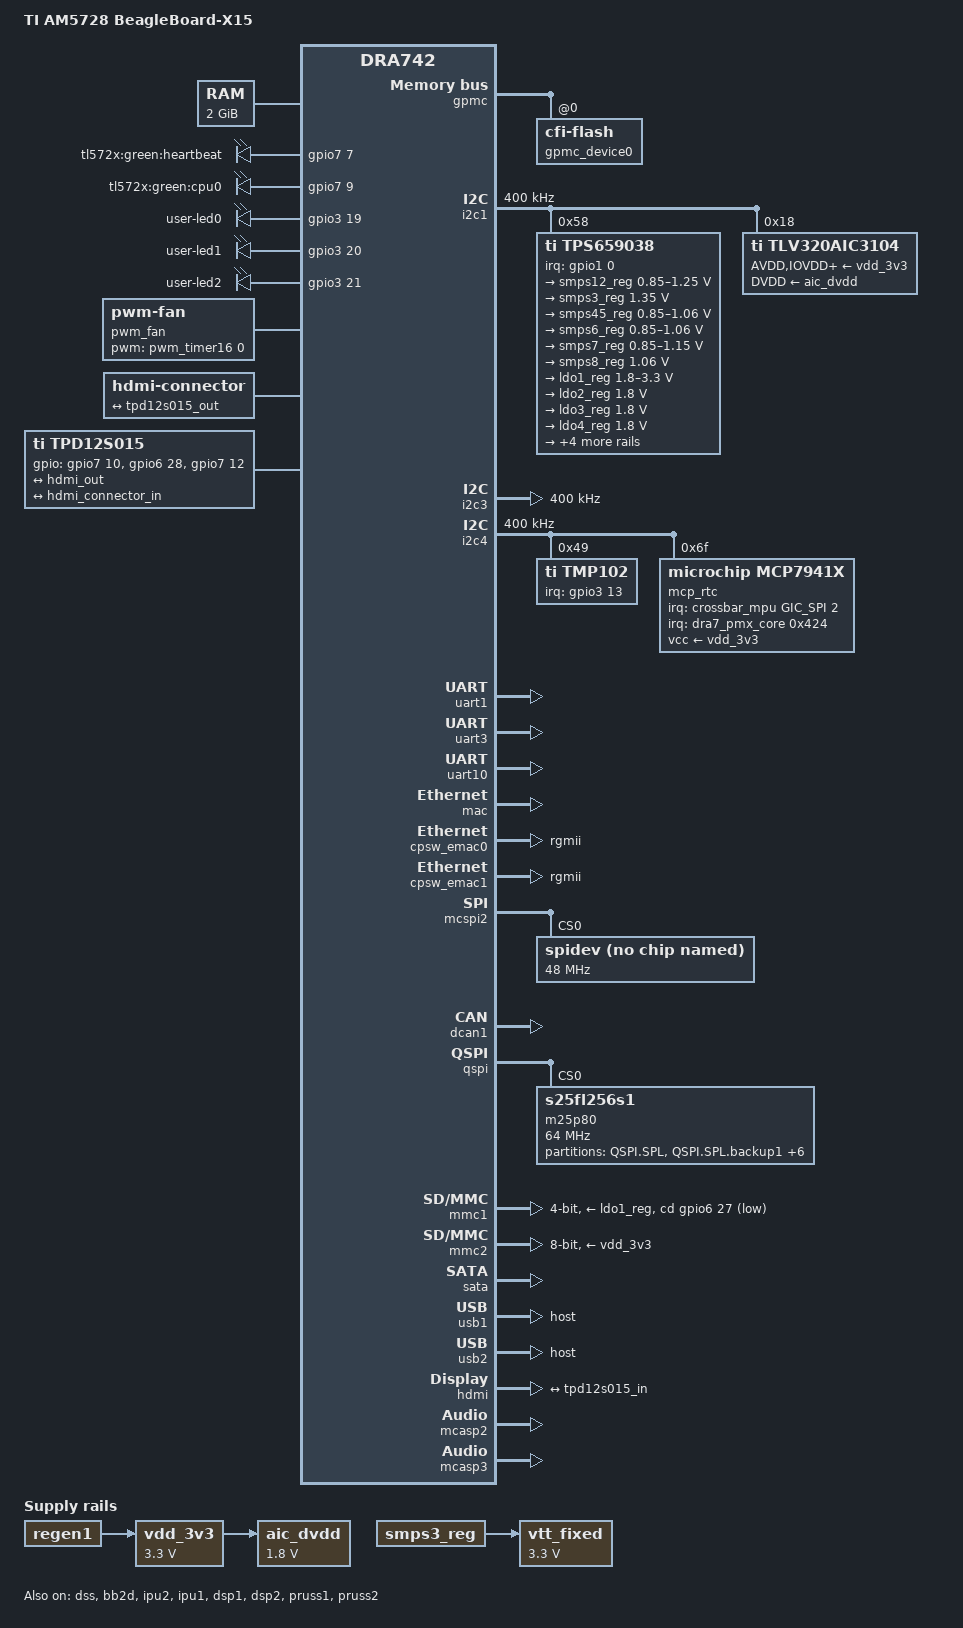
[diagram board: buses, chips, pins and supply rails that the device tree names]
/*
 * Copyright (C) 2014 Texas Instruments Incorporated - http://www.ti.com/
 *
 * This program is free software; you can redistribute it and/or modify
 * it under the terms of the GNU General Public License version 2 as
 * published by the Free Software Foundation.
 */
/dts-v1/;

#include "dra74x.dtsi"
#include <dt-bindings/gpio/gpio.h>
#include <dt-bindings/interrupt-controller/irq.h>

/ {
	model = "TI AM5728 BeagleBoard-X15";
	compatible = "ti,am572x-beagle-x15", "ti,am5728", "ti,dra742", "ti,dra74", "ti,dra7";

	aliases {
		rtc0 = &mcp_rtc;
		rtc1 = &tps659038_rtc;
		rtc2 = &rtc;
		display0 = &hdmi0;

		sound0 = &hdmi;
		sound1 = &sound0;
	};

	memory {
		device_type = "memory";
		reg = <0x0 0x80000000 0x0 0x80000000>;
	};

	reserved-memory {
		#address-cells = <2>;
		#size-cells = <2>;
		ranges;

		ipu2_cma_pool: ipu2_cma@95800000 {
			compatible = "shared-dma-pool";
			reg = <0x0 0x95800000 0x0 0x3800000>;
			reusable;
			status = "okay";
		};

		dsp1_cma_pool: dsp1_cma@99000000 {
			compatible = "shared-dma-pool";
			reg = <0x0 0x99000000 0x0 0x4000000>;
			reusable;
			status = "okay";
		};

		ipu1_cma_pool: ipu1_cma@9d000000 {
			compatible = "shared-dma-pool";
			reg = <0x0 0x9d000000 0x0 0x2000000>;
			reusable;
			status = "okay";
		};

		dsp2_cma_pool: dsp2_cma@9f000000 {
			compatible = "shared-dma-pool";
			reg = <0x0 0x9f000000 0x0 0x800000>;
			reusable;
			status = "okay";
		};

		cmem_block_mem_0: cmem_block_mem@a0000000 {
                        reg = <0x0 0xa0000000 0x0 0x0c000000>;
                        no-map;
                        status = "okay";
                };

		cmem_block_mem_1_ocmc3: cmem_block_mem@40500000 {
			reg = <0x0 0x40500000 0x0 0x100000>;
			no-map;
			status = "okay";
		};
	};

	vdd_3v3: fixedregulator-vdd_3v3 {
		compatible = "regulator-fixed";
		regulator-name = "vdd_3v3";
		vin-supply = <&regen1>;
		regulator-min-microvolt = <3300000>;
		regulator-max-microvolt = <3300000>;
	};

	aic_dvdd: fixedregulator-aic_dvdd {
		compatible = "regulator-fixed";
		regulator-name = "aic_dvdd_fixed";
		vin-supply = <&vdd_3v3>;
		regulator-min-microvolt = <1800000>;
		regulator-max-microvolt = <1800000>;
	};

	vtt_fixed: fixedregulator-vtt {
		/* TPS51200 */
		compatible = "regulator-fixed";
		regulator-name = "vtt_fixed";
		vin-supply = <&smps3_reg>;
		regulator-min-microvolt = <3300000>;
		regulator-max-microvolt = <3300000>;
		regulator-always-on;
		regulator-boot-on;
		enable-active-high;
		//gpio = <&gpio7 11 GPIO_ACTIVE_HIGH>;
	};

	cmem {
                compatible = "ti,cmem";
                #address-cells = <1>;
                #size-cells = <0>;

                #pool-size-cells = <2>;

                status = "okay";

                cmem_block_0: cmem_block@0 {
                        reg = <0>;
                        memory-region = <&cmem_block_mem_0>;
                        cmem-buf-pools = <1 0x0 0x0c000000>;
                };

		cmem_block_1: cmem_block@1 {
			reg = <1>;
			memory-region = <&cmem_block_mem_1_ocmc3>;
		};
        };

	leds {
		pinctrl-names = "default";
		pinctrl-0 = <&leds_pins_default>;
		compatible = "gpio-leds";
		led@0 {
			label = "tl572x:green:heartbeat";
			gpios = <&gpio7 7 GPIO_ACTIVE_HIGH>;
			linux,default-trigger = "heartbeat";
			default-state = "off";
		};

		led@1 {
			label = "tl572x:green:cpu0";
			gpios = <&gpio7 9 GPIO_ACTIVE_HIGH>;
			linux,default-trigger = "cpu0";
			default-state = "off";
		};

		led@2 {
			label = "user-led0";
			gpios = <&gpio3 19 GPIO_ACTIVE_HIGH>;
			default-state = "on";
		};

		led@3 {
			label = "user-led1";
			gpios = <&gpio3 20 GPIO_ACTIVE_HIGH>;
			default-state = "on";
		};

		led@4 {
			label = "user-led2";
			gpios = <&gpio3 21 GPIO_ACTIVE_HIGH>;
			default-state = "on";
		};
	};

	pwm_timer16: dmtimer-pwm@16 {
		pinctrl-names = "default";
		pinctrl-0 = <&fan_pins_default>;
		compatible = "ti,omap-dmtimer-pwm";
		ti,timers = <&timer16>;
		#pwm-cells = <3>;
		ti,prescaler = <7>;
		ti,clock-source = <0x00>;
	};

	pwm_fan: pwm_fan {
		compatible = "pwm-fan";
		cooling-min-state = <0>;
		cooling-max-state = <3>;
		#cooling-cells = <2>;
		pwms = <&pwm_timer16 0 10000 0>;
		cooling-levels = <102 153 204 250>;
	};

	hdmi0: connector {
		compatible = "hdmi-connector";
		label = "hdmi";

		type = "a";

		port {
			hdmi_connector_in: endpoint {
				remote-endpoint = <&tpd12s015_out>;
			};
		};
	};

	tpd12s015: encoder {
		compatible = "ti,tpd12s015";

		gpios = <&gpio7 10 GPIO_ACTIVE_HIGH>,	/* gpio7_10, CT CP HPD */
			<&gpio6 28 GPIO_ACTIVE_HIGH>,	/* gpio6_28, LS OE */
			<&gpio7 12 GPIO_ACTIVE_HIGH>;	/* gpio7_12/sp1_cs2, HPD */

		ports {
			#address-cells = <1>;
			#size-cells = <0>;

			port@0 {
				reg = <0>;

				tpd12s015_in: endpoint {
					remote-endpoint = <&hdmi_out>;
				};
			};

			port@1 {
				reg = <1>;

				tpd12s015_out: endpoint {
					remote-endpoint = <&hdmi_connector_in>;
				};
			};
		};
	};

	tvp5158_audio: tvp5158_audio {
		#sound-dai-cells = <0>;
		compatible = "ti,tvp5158-audio";

		assigned-clocks = <&clkoutmux2_clk_mux>;
		assigned-clock-parents = <&sys_clk2_dclk_div>;

		status = "okay";
	};

	sound0: sound@0 {
		compatible = "simple-audio-card";
		simple-audio-card,name = "BeagleBoard-X15";
		simple-audio-card,widgets =
			"Line", "Line In";
		simple-audio-card,routing =
			"Line In", "Line In";
		simple-audio-card,format = "i2s";
		simple-audio-card,bitclock-master = <&sound0_master>;
		simple-audio-card,frame-master = <&sound0_master>;
		simple-audio-card,bitclock-inversion;

		simple-audio-card,cpu {
			sound-dai = <&mcasp2>;
		};

		sound0_master: simple-audio-card,codec {
			sound-dai = <&tvp5158_audio>;
			clocks = <&clkout2_clk>;
		};
	};
};

&dra7_pmx_core {
	pinctrl-names = "default";
	pinctrl-0 = <&gpio1_pins_default &gpio4_pins_default &i2c1_pins_default &i2c4_pins_default &gpmc_pins_default>;

	leds_pins_default: leds_pins_default {
		pinctrl-single,pins = <
			DRA7XX_CORE_IOPAD(0x37a4, (PIN_OUTPUT | MUX_MODE14)) /* spi1_sclk.gpio7_7 (som led1) A25 */
			DRA7XX_CORE_IOPAD(0x37ac, (PIN_OUTPUT | MUX_MODE14)) /* spi1_d0.gpio7_9 (som led2) B25 */
			DRA7XX_CORE_IOPAD(0x3530, (PIN_OUTPUT | MUX_MODE14)) /* vin1a_d15.gpio3_19 */
			DRA7XX_CORE_IOPAD(0x3534, (PIN_OUTPUT | MUX_MODE14)) /* vin1a_d16.gpio3_20 */
			DRA7XX_CORE_IOPAD(0x3538, (PIN_OUTPUT | MUX_MODE14)) /* vin1a_d17.gpio3_21 */
		>;
	};

	i2c1_pins_default: i2c1_pins_default {
		pinctrl-single,pins = <
			DRA7XX_CORE_IOPAD(0x3800, (PIN_INPUT_PULLUP | MUX_MODE0)) /* i2c1_sda.sda */
			DRA7XX_CORE_IOPAD(0x3804, (PIN_INPUT_PULLUP | MUX_MODE0)) /* i2c1_scl.scl */
		>;
	};

	i2c4_pins_default: i2c4_pins_default {
		pinctrl-single,pins = <
			DRA7XX_CORE_IOPAD(0x3440, (PIN_INPUT_PULLUP | MUX_MODE7)) /* gpmc_a0.i2c4_scl */
			DRA7XX_CORE_IOPAD(0x3444, (PIN_INPUT_PULLUP | MUX_MODE7)) /* gpmc_a1.i2c4_sda */
		>;
	};

	uart1_pins_default: uart1_pins_default {
		pinctrl-single,pins = <
			DRA7XX_CORE_IOPAD(0x37e0, (PIN_INPUT_PULLUP | MUX_MODE0)) /* uart1_rxd.uart1_rxd */
			DRA7XX_CORE_IOPAD(0x37e4, (PIN_INPUT_PULLUP | MUX_MODE0)) /* uart1_txd.uart1_txd */
		>;
	};

	uart10_pins_default: uart10_pins_default {
		pinctrl-single,pins = <
			DRA7XX_CORE_IOPAD(0x3570, (PIN_INPUT_PULLUP | MUX_MODE8)) /* vin2a_d2.uart10_rxd */
			DRA7XX_CORE_IOPAD(0x3574, (PIN_INPUT_PULLUP | MUX_MODE8)) /* vin2a_d3.uart10_txd */
		>;
	};

	fan_pins_default: fan_pins_default {
		pinctrl-single,pins = <
			DRA7XX_CORE_IOPAD(0x34e4, (PIN_OUTPUT_PULLUP | MUX_MODE7)) /* vin1a_de0.timer16 (AD9) */
		>;
	};

	ads7846_pins: ads7846_pins {
		pinctrl-single,pins = <
			DRA7XX_CORE_IOPAD(0x3548, (PIN_INPUT_PULLUP | MUX_MODE14)) /* vin1a_d21.gpio3_25 */
		>;
	};

	qspi1_pins_default: qspi1_pins_default {
		pinctrl-single,pins = <
			DRA7XX_CORE_IOPAD(0x3488, (PIN_INPUT_PULLUP | MUX_MODE1)) /* gpmc_a18.qspi1_sclk */
			DRA7XX_CORE_IOPAD(0x3474, (PIN_INPUT_PULLUP | MUX_MODE1)) /* gpmc_a13.qspi1_rtclk */
			DRA7XX_CORE_IOPAD(0x3480, (PIN_INPUT_PULLUP | MUX_MODE1)) /* gpmc_a16.qspi1_d0 */
			DRA7XX_CORE_IOPAD(0x3484, (PIN_INPUT_PULLUP | MUX_MODE1)) /* gpmc_a17.qspi1_d1 */
			DRA7XX_CORE_IOPAD(0x347c, (PIN_INPUT_PULLUP | MUX_MODE1)) /* gpmc_a15.qspi1_d2 */
			DRA7XX_CORE_IOPAD(0x3478, (PIN_INPUT_PULLUP | MUX_MODE1)) /* gpmc_a14.qspi1_d3 */
			DRA7XX_CORE_IOPAD(0x34b8, (PIN_INPUT_PULLUP | MUX_MODE1)) /* gpmc_cs2.qspi1_cs0 */
		>;
	};

	spi3_pins: spi3_pins {
		pinctrl-single,pins = <
			DRA7XX_CORE_IOPAD(0x3780, (INPUT_EN | MUX_MODE1))          /* mcasp1_axr8.spi3_sclk (B12) */
			DRA7XX_CORE_IOPAD(0x3784, (INPUT_EN | MUX_MODE1))          /* mcasp1_axr9.spi3_d1 (A11) */
			DRA7XX_CORE_IOPAD(0x3788, (INPUT_EN | MUX_MODE1))          /* mcasp1_axr10.spi3_d0 (B13) */
			DRA7XX_CORE_IOPAD(0x378C, (PIN_OUTPUT_PULLUP | MUX_MODE1)) /* mcasp1_axr11.spi3_cs0 (A12) */
		>;
	};

	spi2_pins: spi2_pins {
		pinctrl-single,pins = <
			DRA7XX_CORE_IOPAD(0x37C0, (INPUT_EN | MUX_MODE0))          /* SPI2_SCLK.spi2_sclk (A26) */
			DRA7XX_CORE_IOPAD(0x37C4, (INPUT_EN | MUX_MODE0))          /* SPI2_D1.spi2_d1 (B11) */
			DRA7XX_CORE_IOPAD(0x37C8, (INPUT_EN | MUX_MODE0))          /* SPI2_D0.spi2_d0 (B13) */
			DRA7XX_CORE_IOPAD(0x37CC, (PIN_OUTPUT_PULLUP | MUX_MODE0)) /* SPI2_CS0.spi2_cs0 (A12) */
		>;
	};

	dcan1__pins_default: dcan1_pins_default {
		pinctrl-single,pins = <
			DRA7XX_CORE_IOPAD(0x37d0, (PIN_INPUT_PULLUP | MUX_MODE0))   /* dcan1_tx.tx */
			DRA7XX_CORE_IOPAD(0x37d4, (PIN_INPUT_PULLUP | MUX_MODE0))   /* dcan1_rx.rx */
		>;
	};

	mcasp2_pins_default: mcasp2_pins_default {
		pinctrl-single,pins = <
			DRA7XX_CORE_IOPAD(0x3698, (PIN_INPUT_PULLDOWN | MUX_MODE3))   /* xref_clk1.mcasp2_ahclkx */
			DRA7XX_CORE_IOPAD(0x36F4, (PIN_INPUT_PULLDOWN | MUX_MODE0))   /* mcasp2_aclkx.mcasp2_aclkx */
			DRA7XX_CORE_IOPAD(0x36F8, (PIN_INPUT_PULLUP | MUX_MODE0))   /* mcasp2_fsx.mcasp2_fsx */
			DRA7XX_CORE_IOPAD(0x370C, (PIN_INPUT_PULLUP | MUX_MODE0))   /* mcasp2_axr2.mcasp2_axr2 */
			DRA7XX_CORE_IOPAD(0x3710, (PIN_INPUT_PULLUP | MUX_MODE0))   /* mcasp2_axr3.mcasp2_axr3 */
		>;
	};

	gpio1_pins_default: gpio1_pins_default {
		pinctrl-single,pins = <
			DRA7XX_CORE_IOPAD(0x381c, (PIN_INPUT_PULLUP | MUX_MODE14)) /* Wakeup1.gpio1_1 */
			DRA7XX_CORE_IOPAD(0x3820, (PIN_INPUT_PULLUP | MUX_MODE14)) /* Wakeup2.gpio1_2 */
		>;
	};

	gpio4_pins_default: gpio4_pins_default {
		pinctrl-single,pins = <
			DRA7XX_CORE_IOPAD(0x3568, (PIN_INPUT_PULLUP | MUX_MODE14)) /* vin2a_d0.gpio4_1 */
		>;
	};

	gpmc_pins_default: gpmc_pins_default {
		pinctrl-single,pins = <
			DRA7XX_CORE_IOPAD(0x3400, (PIN_INPUT_PULLUP | MUX_MODE0))  /* gpmc_ad0.gpmc_d0 */
			DRA7XX_CORE_IOPAD(0x3404, (PIN_INPUT_PULLUP | MUX_MODE0))  /* gpmc_ad1.gpmc_d1 */
			DRA7XX_CORE_IOPAD(0x3408, (PIN_INPUT_PULLUP | MUX_MODE0))  /* gpmc_ad2.gpmc_d2 */
			DRA7XX_CORE_IOPAD(0x340C, (PIN_INPUT_PULLUP | MUX_MODE0))  /* gpmc_ad3.gpmc_d3 */
			DRA7XX_CORE_IOPAD(0x3410, (PIN_INPUT_PULLUP | MUX_MODE0))  /* gpmc_ad4.gpmc_d4 */
			DRA7XX_CORE_IOPAD(0x3414, (PIN_INPUT_PULLUP | MUX_MODE0))  /* gpmc_ad5.gpmc_d5 */
			DRA7XX_CORE_IOPAD(0x3418, (PIN_INPUT_PULLUP | MUX_MODE0))  /* gpmc_ad6.gpmc_d6 */
			DRA7XX_CORE_IOPAD(0x341C, (PIN_INPUT_PULLUP | MUX_MODE0))  /* gpmc_ad7.gpmc_d7 */
			DRA7XX_CORE_IOPAD(0x3420, (PIN_INPUT_PULLUP | MUX_MODE0))  /* gpmc_ad8.gpmc_d8 */
			DRA7XX_CORE_IOPAD(0x3424, (PIN_INPUT_PULLUP | MUX_MODE0))  /* gpmc_ad9.gpmc_d9 */
			DRA7XX_CORE_IOPAD(0x3428, (PIN_INPUT_PULLUP | MUX_MODE0))  /* gpmc_ad10.gpmc_d10 */
			DRA7XX_CORE_IOPAD(0x342C, (PIN_INPUT_PULLUP | MUX_MODE0))  /* gpmc_ad11.gpmc_d11 */
			DRA7XX_CORE_IOPAD(0x3430, (PIN_INPUT_PULLUP | MUX_MODE0))  /* gpmc_ad12.gpmc_d12 */
			DRA7XX_CORE_IOPAD(0x3434, (PIN_INPUT_PULLUP | MUX_MODE0))  /* gpmc_ad13.gpmc_d13 */
			DRA7XX_CORE_IOPAD(0x3438, (PIN_INPUT_PULLUP | MUX_MODE0))  /* gpmc_ad14.gpmc_d14 */
			DRA7XX_CORE_IOPAD(0x343C, (PIN_INPUT_PULLUP | MUX_MODE0))  /* gpmc_ad15.gpmc_d15 */
			DRA7XX_CORE_IOPAD(0x34C0, (PIN_INPUT | MUX_MODE0))         /* gpmc_clk.gpmc_clk */
			DRA7XX_CORE_IOPAD(0x34C4, (PIN_OUTPUT_PULLUP | MUX_MODE0)) /* gpmc_advn_ale.gpmc_advn_ale */
			DRA7XX_CORE_IOPAD(0x34C8, (PIN_OUTPUT_PULLUP | MUX_MODE0)) /* gpmc_oen_ren.gpmc_oen_ren */
			DRA7XX_CORE_IOPAD(0x34CC, (PIN_OUTPUT_PULLUP | MUX_MODE0)) /* gpmc_wen.gpmc_wen */
			DRA7XX_CORE_IOPAD(0x34B4, (PIN_OUTPUT_PULLUP | MUX_MODE0)) /* gpmc_cs0.gpmc_cs0 */
		>;
	};
};

&gpmc {
	depth = <1>;    /* only create devices on depth 1 */
	status = "okay";

	#address-cells = <2>;
	#size-cells = <1>;


	ranges = <0 0 0x01000000 0x01000000>;  /* CSn0 0, addr 0x01000000, size 0x1000000 */

	gpmc_device0@0,0 {
		compatible = "cfi-flash";
		linux,mtd-name= "intel,pf48f6000m0y1be";

		#address-cells = <1>;
		#size-cells = <1>;

		status = "okay";

		reg = <0 0 0x01000000>;

		/* CONFIG 1 */
		bank-width = <2>;               /* GPMC_CONFIG1_DEVICESIZE(1) 2: 16bits */
		gpmc,mux-add-data = <2>;        /* GPMC_CONFIG1_MUXTYPE(0) 2: address-data multiplexing mode */

		/* CONFIG 2 */
		gpmc,cs-on-ns = <0>;
		gpmc,cs-rd-off-ns = <93>;
		gpmc,cs-wr-off-ns = <93>;

		/* CONFIG 3 */
		gpmc,adv-on-ns = <6>;
		gpmc,adv-rd-off-ns = <24>;
		gpmc,adv-wr-off-ns = <24>;

		/* CONFIG 4 */
		gpmc,oe-on-ns = <27>;
		gpmc,oe-off-ns = <84>;
		gpmc,we-on-ns = <27>;
		gpmc,we-off-ns = <84>;

		/* CONFIG 5 */
		gpmc,rd-cycle-ns = <93>;
		gpmc,wr-cycle-ns = <93>;
		gpmc,access-ns = <57>;
		gpmc,page-burst-access-ns = <3>;
		gpmc,bus-turnaround-ns = <6>;
		gpmc,cycle2cycle-delay-ns = <9>;

		/* CONFIG 6 */
		gpmc,wr-data-mux-bus-ns = <45>;
		gpmc,wr-access-ns = <93>;
		gpmc,cycle2cycle-samecsen;
		gpmc,cycle2cycle-diffcsen;
	};
};

&i2c1 {
	status = "okay";
	clock-frequency = <400000>;


	tps659038: tps659038@58 {
		compatible = "ti,tps659038";
		reg = <0x58>;
		interrupt-parent = <&gpio1>;
		interrupts = <0 IRQ_TYPE_LEVEL_LOW>;

		#interrupt-cells = <2>;
		interrupt-controller;

		ti,system-power-controller;
		ti,palmas-override-powerhold;

		tps659038_pmic {
			compatible = "ti,tps659038-pmic";

			regulators {
				smps12_reg: smps12 {
					/* VDD_MPU */
					regulator-name = "smps12";
					regulator-min-microvolt = < 850000>;
					regulator-max-microvolt = <1250000>;
					regulator-always-on;
					regulator-boot-on;
				};

				smps3_reg: smps3 {
					/* VDD_DDR */
					regulator-name = "smps3";
					regulator-min-microvolt = <1350000>;
					regulator-max-microvolt = <1350000>;
					regulator-always-on;
					regulator-boot-on;
				};

				smps45_reg: smps45 {
					/* VDD_DSPEVE */
					regulator-name = "smps45";
					regulator-min-microvolt = < 850000>;
					regulator-max-microvolt = <1060000>;
					regulator-always-on;
					regulator-boot-on;
				};

				smps6_reg: smps6 {
					/* VDD_GPU */
					regulator-name = "smps6";
					regulator-min-microvolt = <850000>;
					regulator-max-microvolt = <1060000>;
					regulator-always-on;
					regulator-boot-on;
				};

				smps7_reg: smps7 {
					/* VDD_CORE */
					regulator-name = "smps7";
					regulator-min-microvolt = <850000>;
					regulator-max-microvolt = <1150000>;
					regulator-always-on;
					regulator-boot-on;
				};

				smps8_reg: smps8 {
					/* VDD_1V06 */
					regulator-name = "smps8";
					regulator-min-microvolt = <1060000>;
					regulator-max-microvolt = <1060000>;
					regulator-always-on;
					regulator-boot-on;
				};

				/* SMPS9 unused */

				ldo1_reg: ldo1 {
					/* VDD_SD / VDDSHV8  */
					regulator-name = "ldo1";
					regulator-min-microvolt = <1800000>;
					regulator-max-microvolt = <3300000>;
					regulator-boot-on;
					regulator-always-on;
				};

				ldo2_reg: ldo2 {
					/* VDD_SHV5 */
					regulator-name = "ldo2";
					regulator-min-microvolt = <1800000>;
					regulator-max-microvolt = <1800000>;
					regulator-always-on;
					regulator-boot-on;
				};

				ldo3_reg: ldo3 {
					/* VDDA_1V8_PHYA */
					regulator-name = "ldo3";
					regulator-min-microvolt = <1800000>;
					regulator-max-microvolt = <1800000>;
					regulator-always-on;
					regulator-boot-on;
				};

				ldo4_reg: ldo4 {
					/* VDDA_1V8_PHYB */
					regulator-name = "ldo4";
					regulator-min-microvolt = <1800000>;
					regulator-max-microvolt = <1800000>;
					regulator-always-on;
					regulator-boot-on;
				};

				ldo9_reg: ldo9 {
					/* VDD_RTC */
					regulator-name = "ldo9";
					regulator-min-microvolt = <1050000>;
					regulator-max-microvolt = <1050000>;
					regulator-always-on;
					regulator-boot-on;
				};

				ldoln_reg: ldoln {
					/* VDDA_1V8_PLL */
					regulator-name = "ldoln";
					regulator-min-microvolt = <1800000>;
					regulator-max-microvolt = <1800000>;
					regulator-always-on;
					regulator-boot-on;
				};

				ldousb_reg: ldousb {
					/* VDDA_3V_USB: VDDA_USBHS33 */
					regulator-name = "ldousb";
					regulator-min-microvolt = <3300000>;
					regulator-max-microvolt = <3300000>;
					regulator-boot-on;
				};

				regen1: regen1 {
					/* VDD_3V3_ON */
					regulator-name = "regen1";
					regulator-boot-on;
					regulator-always-on;
				};
			};
		};

		tps659038_rtc: tps659038_rtc {
			compatible = "ti,palmas-rtc";
			interrupt-parent = <&tps659038>;
			interrupts = <8 IRQ_TYPE_EDGE_FALLING>;
			wakeup-source;
		};

		tps659038_pwr_button: tps659038_pwr_button {
			compatible = "ti,palmas-pwrbutton";
			interrupt-parent = <&tps659038>;
			interrupts = <1 IRQ_TYPE_EDGE_FALLING>;
			wakeup-source;
			ti,palmas-long-press-seconds = <12>;
		};

		tps659038_gpio: tps659038_gpio {
			compatible = "ti,palmas-gpio";
			gpio-controller;
			#gpio-cells = <2>;
		};

		extcon_usb2: tps659038_usb {
			compatible = "ti,palmas-usb-vid";
			ti,enable-vbus-detection;
			vbus-gpio = <&gpio3 6 GPIO_ACTIVE_HIGH>;
		};

	};

	tlv320aic3104: tlv320aic3104@18 {
		#sound-dai-cells = <0>;
		compatible = "ti,tlv320aic3104";
		reg = <0x18>;

		assigned-clocks = <&clkoutmux2_clk_mux>;
		assigned-clock-parents = <&sys_clk2_dclk_div>;

		adc-settle-ms = <40>;
		AVDD-supply = <&vdd_3v3>;
		IOVDD-supply = <&vdd_3v3>;
		DRVDD-supply = <&vdd_3v3>;
		DVDD-supply = <&aic_dvdd>;

		status = "okay";
	};
};

&i2c3 {
	status = "okay";
	clock-frequency = <400000>;

};

&i2c4 {
	status = "okay";
	clock-frequency = <400000>;


	tmp102: tmp102@49 {
		compatible = "ti,tmp102";
		reg = <0x49>;
		interrupt-parent = <&gpio3>;
		interrupts = <13 IRQ_TYPE_LEVEL_LOW>;
		#thermal-sensor-cells = <1>;
	};

	mcp_rtc: rtc@6f {
		compatible = "microchip,mcp7941x";
		reg = <0x6f>;
		interrupts-extended = <&crossbar_mpu GIC_SPI 2 IRQ_TYPE_EDGE_RISING>,
				      <&dra7_pmx_core 0x424>;
		interrupt-names = "irq", "wakeup";

		vcc-supply = <&vdd_3v3>;
		wakeup-source;
	};
};

&gpio1 {
	status = "okay";
};

&gpio4 {
	status = "okay";
};

&gpio7 {
	ti,no-reset-on-init;
	ti,no-idle-on-init;
};

&uart1 {
	status = "okay";
	pinctrl-names = "default";
	pinctrl-0 = <&uart1_pins_default>;

	interrupts-extended = <&crossbar_mpu GIC_SPI 67 IRQ_TYPE_LEVEL_HIGH>,
			      <&dra7_pmx_core 0x3e0>;
};

&uart3 {
	status = "okay";
	interrupts-extended = <&crossbar_mpu GIC_SPI 69 IRQ_TYPE_LEVEL_HIGH>,
			      <&dra7_pmx_core 0x3f8>;
};

&uart10 {
	status = "okay";
	pinctrl-names = "default";
	pinctrl-0 = <&uart10_pins_default>;
};

&mac {
	status = "okay";
	dual_emac;
};

&cpsw_emac0 {
	phy_id = <&davinci_mdio>, <0>;
	phy-mode = "rgmii";
	dual_emac_res_vlan = <1>;
};

&cpsw_emac1 {
	phy_id = <&davinci_mdio>, <1>;
	phy-mode = "rgmii";
	dual_emac_res_vlan = <2>;
};

/*&mcspi3 {
        status = "okay";
        pinctrl-names = "default";
        pinctrl-0 = <&spi3_pins>;
        ti,pindir-d0-out-d1-in;

	ads7846@0 {
		pinctrl-names = "default";
		pinctrl-0 = <&ads7846_pins>;

		compatible = "ti,ads7846";

		reg = <0>;			//  CS0 
		spi-max-frequency = <1500000>;

		interrupt-parent = <&gpio3>;
		interrupts = <25 0>;		// gpio3_25 
		pendown-gpio = <&gpio3 25 0>;

		ti,x-min = /bits/ 16 <0x0>;
		ti,x-max = /bits/ 16 <0x0fff>;
		ti,y-min = /bits/ 16 <0x0>;
		ti,y-max = /bits/ 16 <0x0fff>;

		ti,x-plate-ohms = /bits/ 16 <180>;
		ti,pressure-max = /bits/ 16 <255>;

		ti,debounce-max = /bits/ 16 <10>;
		ti,debounce-tol = /bits/ 16 <30>;
		ti,debounce-rep = /bits/ 16 <1>;

		ti,settle-delay-usec = /bits/ 16 <150>;
		ti,keep-vref-on = <1>;

		linux,wakeup;
	};
};*/
/*&mcspi3 {
        status = "okay";
        pinctrl-names = "default";
        pinctrl-0 = <&spi3_pins>;
        ti,pindir-d0-out-d1-in;

	spidev0:spi@0 {
		compatible = "spidev";
		reg = <0>;			// CS0 
		spi-max-frequency = <1500000>;
	};
};
*/
/*&mcspi2 {
        status = "okay";
        pinctrl-names = "default";
        pinctrl-0 = <&spi2_pins>;
        ti,pindir-d0-out-d1-in;

	spidev:spi@0 {
		compatible = "spidev";
		reg = <0>;			//  CS0 
		spi-max-frequency = <1500000>;
	};
};*/


&mcspi2 {
        status = "okay";
        pinctrl-names = "default";
	spidev:spi@0 {
		compatible = "spidev";
		reg = <0>;			//  CS0 
		spi-max-frequency = <48000000>;
                status = "okay";
                spi-cpol; spi-cpha;
	};
};


&dcan1 {
	status = "okay";
	pinctrl-names = "default";
	pinctrl-0 = <&dcan1__pins_default>;
};

&qspi {
	status = "okay";

	pinctrl-names = "default";
	pinctrl-0 = <&qspi1_pins_default>;

	spi-max-frequency = <64000000>;
	m25p80@0 {
		compatible = "s25fl256s1";
		spi-max-frequency = <64000000>;
		reg = <0>;
		spi-tx-bus-width = <1>;
		spi-rx-bus-width = <4>;
		#address-cells = <1>;
		#size-cells = <1>;

		/*
		 * MTD partition table.
		 */
		partition@0 {
			label = "QSPI.SPL";
			reg = <0x00000000 0x000020000>;
		};
		partition@1 {
			label = "QSPI.SPL.backup1";
			reg = <0x00020000 0x00020000>;
		};
		partition@2 {
			label = "QSPI.u-boot";
			reg = <0x00040000 0x00100000>;
		};
		partition@3 {
			label = "QSPI.u-boot-spl-os";
			reg = <0x00140000 0x00080000>;
		};
		partition@4 {
			label = "QSPI.u-boot-env";
			reg = <0x001C0000 0x00010000>;
		};
		partition@5 {
			label = "QSPI.u-boot-env.backup1";
			reg = <0x001D0000 0x00010000>;
		};
		partition@6 {
			label = "QSPI.kernel";
			reg = <0x001E0000 0x0800000>;
		};
		partition@7 {
			label = "QSPI.user-data";
			reg = <0x009E0000 0x1620000>;
		};
	};
};

&mmc1 {
	status = "okay";

	vmmc-supply = <&ldo1_reg>;
	bus-width = <4>;
	cd-gpios = <&gpio6 27 GPIO_ACTIVE_LOW>; /* gpio 219 */
};

&mmc2 {
	status = "okay";

	vmmc-supply = <&vdd_3v3>;
	bus-width = <8>;
	ti,non-removable;
	cap-mmc-dual-data-rate;
};

&sata {
	status = "okay";
};

&usb2_phy1 {
	phy-supply = <&ldousb_reg>;
};

&usb2_phy2 {
	phy-supply = <&ldousb_reg>;
};

&usb1 {
	dr_mode = "host";
};

&omap_dwc3_2 {
	extcon = <&extcon_usb2>;
};

&usb2 {
	/*
	 * Stand alone usage is peripheral only.
	 * However, with some resistor modifications
	 * this port can be used via expansion connectors
	 * as "host" or "dual-role". If so, provide
	 * the necessary dr_mode override in the expansion
	 * board's DT.
	 */
	dr_mode = "host";
};

&cpu_trips {
	cpu_alert1: cpu_alert1 {
		temperature = <50000>; /* millicelsius */
		hysteresis = <2000>; /* millicelsius */
		type = "active";
	};
};

&cpu_cooling_maps {
	map1 {
		trip = <&cpu_alert1>;
		cooling-device = <&pwm_fan THERMAL_NO_LIMIT THERMAL_NO_LIMIT>;
	};
};

&oppdm_mpu {
	vdd-supply = <&smps12_reg>;
};

&oppdm_dspeve {
	vdd-supply = <&smps45_reg>;
};

&oppdm_gpu {
	vdd-supply = <&smps45_reg>;
};

&oppdm_ivahd {
	vdd-supply = <&smps45_reg>;
};

&oppdm_core {
	vdd-supply = <&smps6_reg>;
};

&dss {
	status = "ok";

	vdda_video-supply = <&ldoln_reg>;
};

&bb2d {
	status = "okay";
};

&hdmi {
	status = "ok";
	vdda-supply = <&ldo4_reg>;

	port {
		hdmi_out: endpoint {
			remote-endpoint = <&tpd12s015_in>;
		};
	};
};

&mcasp2 {
	#sound-dai-cells = <0>;
	assigned-clocks = <&mcasp2_ahclkx_mux>;
	assigned-clock-parents = <&sys_clkin2>;
	status = "okay";
	pinctrl-names = "default";
	pinctrl-0 = <&mcasp2_pins_default>;

	op-mode = <0>;	/* MCASP_IIS_MODE */
	tdm-slots = <4>;
	/* 4 serializers */
	serial-dir = <	/* 0: INACTIVE, 1: TX, 2: RX */
		0 0 2 2
	>;
	tx-num-evt = <32>;
	rx-num-evt = <32>;
};

&mcasp3 {
	#sound-dai-cells = <0>;
	assigned-clocks = <&mcasp3_ahclkx_mux>;
	assigned-clock-parents = <&sys_clkin2>;
	status = "okay";

	op-mode = <0>;	/* MCASP_IIS_MODE */
	tdm-slots = <2>;
	/* 4 serializers */
	serial-dir = <	/* 0: INACTIVE, 1: TX, 2: RX */
		1 2 0 0
	>;
	tx-num-evt = <32>;
	rx-num-evt = <32>;
};

&timer16 {
	ti,timer-pwm;
};

&mailbox3 {
	status = "okay";
	mbox_pru1_0: mbox_pru1_0 {
		status = "okay";
	};
	mbox_pru1_1: mbox_pru1_1 {
		status = "okay";
	};
};

&mailbox4 {
	status = "okay";
	mbox_pru2_0: mbox_pru2_0 {
		status = "okay";
	};
	mbox_pru2_1: mbox_pru2_1 {
		status = "okay";
	};
};

&mailbox5 {
	status = "okay";
	mbox_ipu1_ipc3x: mbox_ipu1_ipc3x {
		status = "okay";
	};
	mbox_dsp1_ipc3x: mbox_dsp1_ipc3x {
		status = "okay";
	};
};

&mailbox6 {
	status = "okay";
	mbox_ipu2_ipc3x: mbox_ipu2_ipc3x {
		status = "okay";
	};
	mbox_dsp2_ipc3x: mbox_dsp2_ipc3x {
		status = "okay";
	};
};

&mmu0_dsp1 {
	status = "okay";
};

&mmu1_dsp1 {
	status = "okay";
};

&mmu0_dsp2 {
	status = "okay";
};

&mmu1_dsp2 {
	status = "okay";
};

&mmu_ipu1 {
	status = "okay";
};

&mmu_ipu2 {
	status = "okay";
};

&ipu2 {
	status = "okay";
	memory-region = <&ipu2_cma_pool>;
	mboxes = <&mailbox6 &mbox_ipu2_ipc3x>;
	timers = <&timer3>;
	watchdog-timers = <&timer4>, <&timer9>;
};

&ipu1 {
	status = "okay";
	memory-region = <&ipu1_cma_pool>;
	mboxes = <&mailbox5 &mbox_ipu1_ipc3x>;
	timers = <&timer11>;
};

&dsp1 {
	status = "okay";
	memory-region = <&dsp1_cma_pool>;
	mboxes = <&mailbox5 &mbox_dsp1_ipc3x>;
	timers = <&timer5>;
};

&dsp2 {
	status = "okay";
	memory-region = <&dsp2_cma_pool>;
	mboxes = <&mailbox6 &mbox_dsp2_ipc3x>;
	timers = <&timer6>;
};

&pruss1 {
	status = "okay";
	pru1_0: pru0@4b234000 {
		interrupt-parent = <&pruss1_intc>;
		interrupts = <16>, <17>;
		interrupt-names = "vring", "kick";
		status = "okay";
	};

	pru1_1: pru1@4b238000 {
		interrupt-parent = <&pruss1_intc>;
		interrupts = <18>, <19>;
		interrupt-names = "vring", "kick";
		status = "okay";
	};
};

&pruss2 {
	status = "okay";
	pru2_0: pru0@4b2b4000 {
		interrupt-parent = <&pruss2_intc>;
		interrupts = <16>, <17>;
		interrupt-names = "vring", "kick";
		status = "okay";
	};

	pru2_1: pru1@4b2b8000 {
		interrupt-parent = <&pruss2_intc>;
		interrupts = <18>, <19>;
		interrupt-names = "vring", "kick";
		status = "okay";
	};
};

